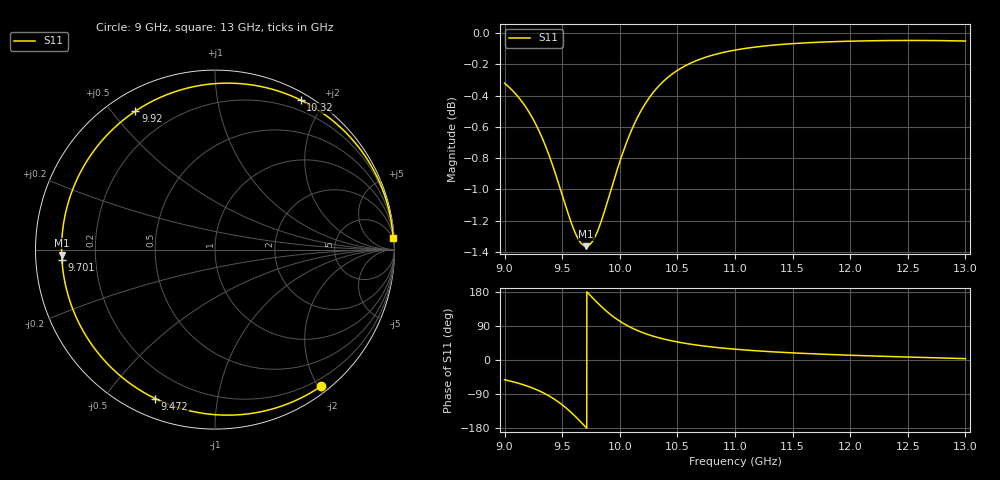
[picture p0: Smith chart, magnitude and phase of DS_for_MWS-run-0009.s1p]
! TOUCHSTONE file generated by CST DESIGN STUDIO
! Date and time: Tue Feb  4 17:25:18 2025
! Project name: C:\Work\MatlabApps\UnitCellOptimizationMatlab\CST\unitcell.cst
! Tree item: Tasks\Sweep1\SPara1\S-Parameters
! Header version: 2024
! Port assignment regex: !\s*Touchstone port\s*([0-9]+)\s*=\s*(CST MWS port|CST DES external port|CST DES block port)\s*(.+)\s* \(\"(.*)\"\)(\s*mode\s*([0-9]+))?.*
! Touchstone port assignment:
! Touchstone port 1 = CST DES external port 1 ("")
# GHz S MA R 50
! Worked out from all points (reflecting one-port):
!   4001 points, 9 GHz to 13 GHz, reference 50 ohm
!   lowest |S11| = -1.4 dB at 9.707 GHz (marker M1), VSWR 12.77, Z = 3.92 - j0.889 ohm
!   phase of S11 starts at -52 deg and turns -304 deg over the sweep
!   S11 on the Smith chart (normalised r, x): 9 GHz: 0.10, -2.04; 9.472 GHz: 0.08, -0.67; 9.701 GHz: 0.08, -0.03; 9.92 GHz: 0.08, +0.58; 10.32 GHz: 0.08, +1.72; 13 GHz: 3, +31
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9  0.9637 -52.2
9.127  0.9532 -62.0
9.247  0.9386 -74.5
9.373  0.9166 -92.6
9.425  0.9053 -102.1
9.472  0.8943 -111.8
9.5  0.8876 -118.3
9.547  0.8765 -130.0
9.593  0.8668 -142.8
9.65  0.858 -159.9
9.701  0.8548 -176.0
9.707  0.8548 -177.9
9.752  0.8568 167.7
9.8  0.8631 152.7
9.861  0.8756 135.1
9.92  0.89 119.9
10  0.9097 102.4
10.071  0.9251 89.7
10.155  0.94 77.6
10.235  0.9511 68.2
10.321  0.9602 60.1
10.5  0.9729 47.6
10.718  0.9816 37.4
11  0.9875 28.5
11.5  0.9922 18.8
12  0.994 12.5
12.5  0.9945 7.8
13  0.9941 3.6
